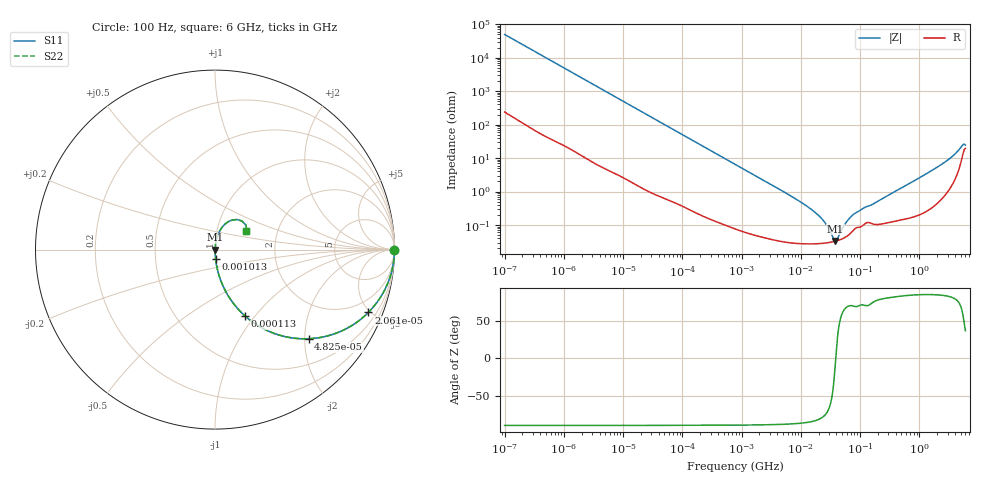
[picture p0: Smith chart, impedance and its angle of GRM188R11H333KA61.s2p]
!Murata Part Number: GRM188R11H333KA61
!These Parameters are Measured in Series Mode Connection
!Data Generated on Mar 30, 2021
!  o--ll--o
!Port1  Port2
!  o------o
!Operation Temp=25[degC], DC Bias Voltage=0[V]
!Freq. Start=100[Hz] Stop=6[GHz] 401[Steps]
# Hz S RI R 50
!Freq.(Hz) S11(Real) S11(Imag) S21(Real) S21(Imag) S12(Real) S12(Imag) S22(Real) S22(Imag)
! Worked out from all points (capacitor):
!   401 points, 100 Hz to 6 GHz, reference 50 ohm
!   read as one part in series: C = 32.1 nF near 109 Hz
!   lowest |Z| = 33.1 mohm at 38.09 MHz (marker M1)
!   series resonance near 38.83 MHz, so ESL is about 520 pH
!   S11 on the Smith chart (normalised r, x): 100 Hz: open; 20.61 kHz: 1.03, -4.87; 48.25 kHz: 1.01, -2.09; 113 kHz: 1.01, -0.89; 1.013 MHz: 1.00, -0.10; 6 GHz: 1.39, +0.30
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100  1 -0.00202  1.38e-05 0.00202  1.38e-05 0.00202  1 -0.00202
2008  0.9982 -0.0402  0.00181 0.0402  0.00181 0.0402  0.9982 -0.0402
7036  0.98 -0.1377  0.02 0.1377  0.02 0.1377  0.98 -0.1377
20606  0.8546 -0.3499  0.1454 0.3499  0.1454 0.3499  0.8546 -0.3499
40335  0.6082 -0.4853  0.3918 0.4853  0.3918 0.4853  0.6082 -0.4853
48246  0.5212 -0.4965  0.4788 0.4965  0.4788 0.4965  0.5212 -0.4965
112960  0.1686 -0.3708  0.8314 0.3708  0.8314 0.3708  0.1686 -0.3708
231233  0.0474 -0.2085  0.9526 0.2085  0.9526 0.2085  0.0474 -0.2085
774597  0.00507 -0.0654  0.9949 0.0654  0.9949 0.0654  0.00507 -0.0654
1013323  0.00317 -0.0502  0.9968 0.0502  0.9968 0.0502  0.00317 -0.0502
6644369  0.00035 -0.00753  0.9997 0.00753  0.9997 0.00753  0.00035 -0.00753
1.555665e7  0.00028 -0.00279  0.9997 0.00279  0.9997 0.00279  0.00028 -0.00279
2.434276e7  0.000287 -0.00129  0.9997 0.00129  0.9997 0.00129  0.000287 -0.00129
3.482834e7  0.000315 -0.00029  0.9997 0.00029  0.9997 0.00029  0.000315 -0.00029
3.80911e7  0.000327 -5.04e-05  0.9997 5.04e-05  0.9997 5.04e-05  0.000327 -5.04e-05
4.165952e7  0.000343 0.000189  0.9997 -0.000189  0.9997 -0.000189  0.000343 0.000189
5.699437e7  0.000436 0.00105  0.9996 -0.00105  0.9996 -0.00105  0.000436 0.00105
7.455971e7  0.000654 0.00185  0.9993 -0.00185  0.9993 -0.00185  0.000654 0.00185
3.124326e8  0.00126 0.008  0.9987 -0.008  0.9987 -0.008  0.00126 0.008
3.205649e9  0.0198 0.0911  0.9802 -0.0911  0.9802 -0.0911  0.0198 0.0911
5.245841e9  0.1217 0.1675  0.8783 -0.1675  0.8783 -0.1675  0.1217 0.1675
6e9  0.1755 0.102  0.8245 -0.102  0.8245 -0.102  0.1755 0.102
